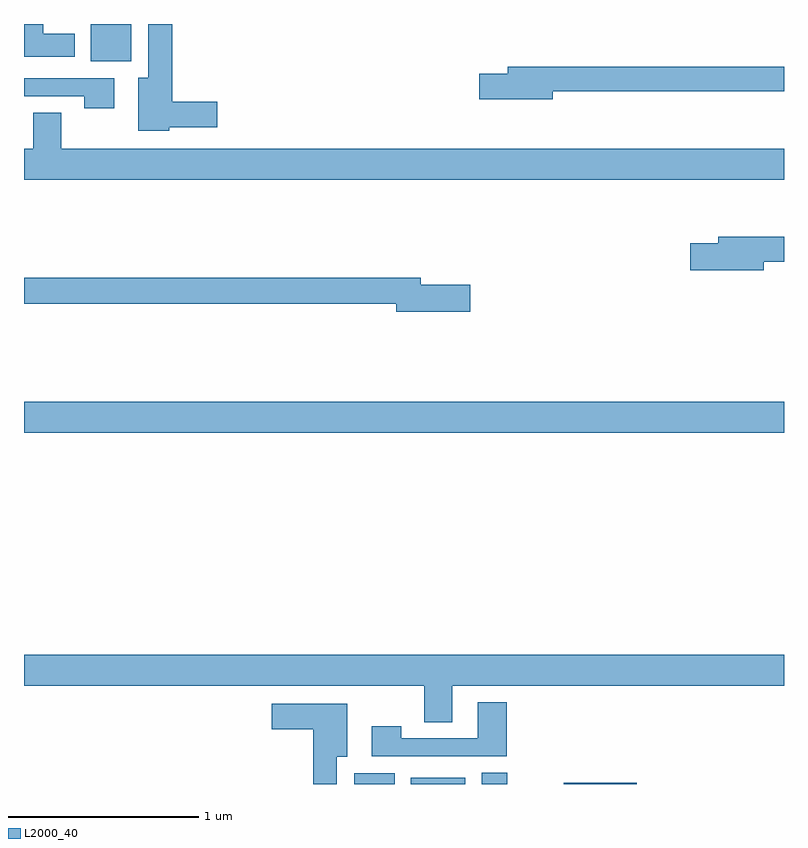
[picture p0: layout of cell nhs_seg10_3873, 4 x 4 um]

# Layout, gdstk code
import gdstk
lib = gdstk.Library(unit=1e-6, precision=1e-09)
def R(c, l, rs):  # rectangles x0, y0, x1, y1
    for r in rs: c.add(gdstk.rectangle(r[:2], r[2:], *l))
def P(c, l, *ps):  # polygons
    for p in ps: c.add(gdstk.Polygon(p, *l))
L2000_40 = (2000, 40)

nhs_seg10_3873 = lib.new_cell('nhs_seg10_3873')
R(nhs_seg10_3873, L2000_40, [(326.738,1266.5,326.95,1266.556), (327.035,1266.5,327.322,1266.532), (327.41,1266.5,327.544,1266.56), (327.84,1266.5,328.224,1266.506), (325,1268.348,329,1268.512), (325.352,1270.304,325.564,1270.5)])
P(nhs_seg10_3873, L2000_40, [(325.764,1269.956),(326.017,1269.956),(326.017,1270.091),(325.781,1270.091),(325.781,1270.5),(325.655,1270.5),(325.655,1270.216),(325.601,1270.216),(325.601,1269.938),(325.764,1269.938)],
  [(325.267,1270.45),(325.102,1270.45),(325.102,1270.5),(325,1270.5),(325,1270.328),(325.267,1270.328)],
  [(327.784,1270.146),(329,1270.146),(329,1270.274),(327.545,1270.274),(327.545,1270.238),(327.396,1270.238),(327.396,1270.103),(327.784,1270.103)],
  [(325.474,1270.215),(325,1270.215),(325,1270.119),(325.318,1270.119),(325.318,1270.056),(325.474,1270.056)],
  [(329,1269.844),(325.197,1269.844),(325.197,1270.034),(325.049,1270.034),(325.049,1269.844),(325,1269.844),(325,1269.68),(329,1269.68)],
  [(328.894,1269.25),(329,1269.25),(329,1269.379),(328.655,1269.379),(328.655,1269.345),(328.506,1269.345),(328.506,1269.203),(328.894,1269.203)],
  [(327.349,1269.128),(327.088,1269.128),(327.088,1269.164),(325,1269.164),(325,1269.028),(326.96,1269.028),(326.96,1268.986),(327.349,1268.986)],
  [(327.253,1267.016),(329,1267.016),(329,1267.18),(325,1267.18),(325,1267.016),(327.106,1267.016),(327.106,1266.826),(327.253,1266.826)],
  [(327.542,1266.931),(327.389,1266.931),(327.389,1266.741),(326.985,1266.741),(326.985,1266.805),(326.829,1266.805),(326.829,1266.645),(327.542,1266.645)],
  [(326.647,1266.644),(326.701,1266.644),(326.701,1266.922),(326.304,1266.922),(326.304,1266.788),(326.522,1266.788),(326.522,1266.5),(326.647,1266.5)])

lib.write_gds('nhs_seg10_3873.gds')
